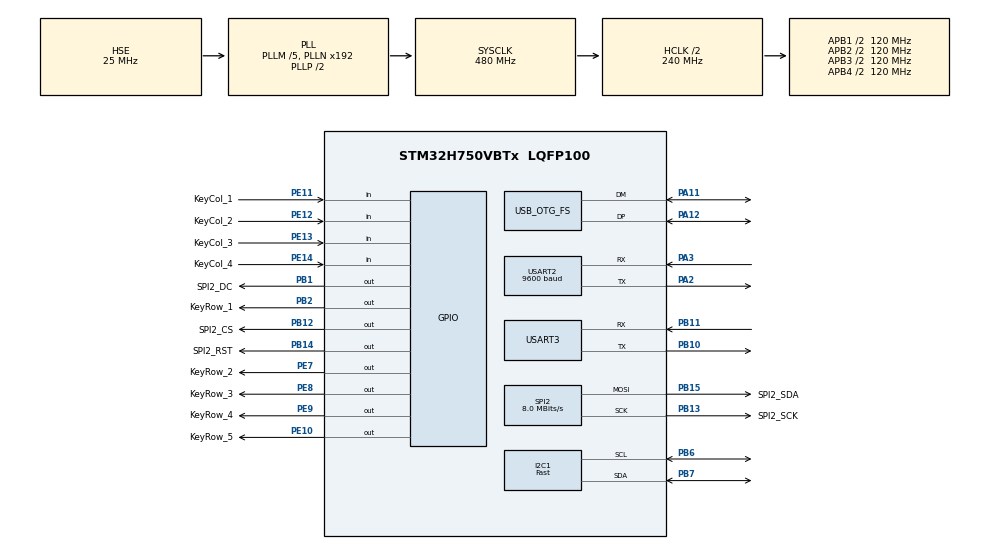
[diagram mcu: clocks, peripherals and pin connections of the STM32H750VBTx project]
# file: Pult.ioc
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CORTEX_M7.default_mode_Activation=1
Dma.Request0=USART2_RX
Dma.Request1=USART2_TX
Dma.Request2=SPI2_TX
Dma.Request3=USART3_RX
Dma.Request4=USART3_TX
Dma.SPI2_TX.2.Direction=DMA_MEMORY_TO_PERIPH
Dma.SPI2_TX.2.EventEnable=DISABLE
Dma.SPI2_TX.2.FIFOMode=DMA_FIFOMODE_DISABLE
Dma.SPI2_TX.2.Instance=DMA1_Stream5
Dma.SPI2_TX.2.MemDataAlignment=DMA_MDATAALIGN_BYTE
Dma.SPI2_TX.2.MemInc=DMA_MINC_ENABLE
Dma.SPI2_TX.2.Mode=DMA_NORMAL
Dma.SPI2_TX.2.PeriphDataAlignment=DMA_PDATAALIGN_BYTE
Dma.SPI2_TX.2.PeriphInc=DMA_PINC_DISABLE
Dma.SPI2_TX.2.Polarity=HAL_DMAMUX_REQ_GEN_RISING
Dma.SPI2_TX.2.Priority=DMA_PRIORITY_HIGH
Dma.SPI2_TX.2.RequestNumber=1
Dma.SPI2_TX.2.SignalID=NONE
Dma.SPI2_TX.2.SyncEnable=DISABLE
Dma.SPI2_TX.2.SyncPolarity=HAL_DMAMUX_SYNC_NO_EVENT
Dma.SPI2_TX.2.SyncRequestNumber=1
Dma.SPI2_TX.2.SyncSignalID=NONE
Dma.USART2_RX.0.Direction=DMA_PERIPH_TO_MEMORY
Dma.USART2_RX.0.EventEnable=DISABLE
Dma.USART2_RX.0.FIFOMode=DMA_FIFOMODE_DISABLE
Dma.USART2_RX.0.Instance=DMA1_Stream1
Dma.USART2_RX.0.MemDataAlignment=DMA_MDATAALIGN_BYTE
Dma.USART2_RX.0.MemInc=DMA_MINC_ENABLE
Dma.USART2_RX.0.Mode=DMA_NORMAL
Dma.USART2_RX.0.PeriphDataAlignment=DMA_PDATAALIGN_BYTE
Dma.USART2_RX.0.PeriphInc=DMA_PINC_DISABLE
Dma.USART2_RX.0.Polarity=HAL_DMAMUX_REQ_GEN_RISING
Dma.USART2_RX.0.Priority=DMA_PRIORITY_HIGH
Dma.USART2_RX.0.RequestNumber=1
Dma.USART2_RX.0.SignalID=NONE
Dma.USART2_RX.0.SyncEnable=DISABLE
Dma.USART2_RX.0.SyncPolarity=HAL_DMAMUX_SYNC_NO_EVENT
Dma.USART2_RX.0.SyncRequestNumber=1
Dma.USART2_RX.0.SyncSignalID=NONE
Dma.USART2_TX.1.Direction=DMA_MEMORY_TO_PERIPH
Dma.USART2_TX.1.EventEnable=DISABLE
Dma.USART2_TX.1.FIFOMode=DMA_FIFOMODE_DISABLE
Dma.USART2_TX.1.Instance=DMA1_Stream2
Dma.USART2_TX.1.MemDataAlignment=DMA_MDATAALIGN_BYTE
Dma.USART2_TX.1.MemInc=DMA_MINC_ENABLE
Dma.USART2_TX.1.Mode=DMA_NORMAL
Dma.USART2_TX.1.PeriphDataAlignment=DMA_PDATAALIGN_BYTE
Dma.USART2_TX.1.PeriphInc=DMA_PINC_DISABLE
Dma.USART2_TX.1.Polarity=HAL_DMAMUX_REQ_GEN_RISING
Dma.USART2_TX.1.Priority=DMA_PRIORITY_HIGH
Dma.USART2_TX.1.RequestNumber=1
Dma.USART2_TX.1.SignalID=NONE
Dma.USART2_TX.1.SyncEnable=DISABLE
Dma.USART2_TX.1.SyncPolarity=HAL_DMAMUX_SYNC_NO_EVENT
Dma.USART2_TX.1.SyncRequestNumber=1
Dma.USART2_TX.1.SyncSignalID=NONE
Dma.USART3_RX.3.Direction=DMA_PERIPH_TO_MEMORY
Dma.USART3_RX.3.EventEnable=DISABLE
Dma.USART3_RX.3.FIFOMode=DMA_FIFOMODE_DISABLE
Dma.USART3_RX.3.Instance=DMA1_Stream0
Dma.USART3_RX.3.MemDataAlignment=DMA_MDATAALIGN_BYTE
Dma.USART3_RX.3.MemInc=DMA_MINC_ENABLE
Dma.USART3_RX.3.Mode=DMA_NORMAL
Dma.USART3_RX.3.PeriphDataAlignment=DMA_PDATAALIGN_BYTE
Dma.USART3_RX.3.PeriphInc=DMA_PINC_DISABLE
Dma.USART3_RX.3.Polarity=HAL_DMAMUX_REQ_GEN_RISING
Dma.USART3_RX.3.Priority=DMA_PRIORITY_HIGH
Dma.USART3_RX.3.RequestNumber=1
Dma.USART3_RX.3.SignalID=NONE
Dma.USART3_RX.3.SyncEnable=DISABLE
Dma.USART3_RX.3.SyncPolarity=HAL_DMAMUX_SYNC_NO_EVENT
Dma.USART3_RX.3.SyncRequestNumber=1
Dma.USART3_RX.3.SyncSignalID=NONE
Dma.USART3_TX.4.Direction=DMA_MEMORY_TO_PERIPH
Dma.USART3_TX.4.EventEnable=DISABLE
Dma.USART3_TX.4.FIFOMode=DMA_FIFOMODE_DISABLE
Dma.USART3_TX.4.Instance=DMA1_Stream3
Dma.USART3_TX.4.MemDataAlignment=DMA_MDATAALIGN_BYTE
Dma.USART3_TX.4.MemInc=DMA_MINC_ENABLE
Dma.USART3_TX.4.Mode=DMA_NORMAL
Dma.USART3_TX.4.PeriphDataAlignment=DMA_PDATAALIGN_BYTE
Dma.USART3_TX.4.PeriphInc=DMA_PINC_DISABLE
Dma.USART3_TX.4.Polarity=HAL_DMAMUX_REQ_GEN_RISING
Dma.USART3_TX.4.Priority=DMA_PRIORITY_HIGH
Dma.USART3_TX.4.RequestNumber=1
Dma.USART3_TX.4.SignalID=NONE
Dma.USART3_TX.4.SyncEnable=DISABLE
Dma.USART3_TX.4.SyncPolarity=HAL_DMAMUX_SYNC_NO_EVENT
Dma.USART3_TX.4.SyncRequestNumber=1
Dma.USART3_TX.4.SyncSignalID=NONE
I2C1.I2C_Speed_Mode=I2C_Fast
I2C1.Timing=0x00B03FDB
Mcu.Family=STM32H7
Mcu.Name=STM32H750VBTx
Mcu.Package=LQFP100
NVIC.DMA1_Stream0_IRQn=true\:0\:0\:false\:false\:true\:false\:true\:true
NVIC.DMA1_Stream1_IRQn=true\:2\:0\:true\:false\:true\:false\:true\:true
NVIC.DMA1_Stream2_IRQn=true\:2\:0\:true\:false\:true\:false\:true\:true
NVIC.DMA1_Stream3_IRQn=true\:0\:0\:false\:false\:true\:false\:true\:true
NVIC.DMA1_Stream5_IRQn=true\:2\:0\:true\:false\:true\:false\:true\:true
NVIC.I2C1_ER_IRQn=true\:12\:0\:true\:false\:true\:true\:true\:true
NVIC.I2C1_EV_IRQn=true\:12\:0\:true\:false\:true\:true\:true\:true
NVIC.OTG_FS_EP1_IN_IRQn=true\:5\:0\:true\:false\:true\:true\:true\:true
NVIC.OTG_FS_EP1_OUT_IRQn=true\:5\:0\:true\:false\:true\:true\:true\:true
NVIC.OTG_FS_IRQn=true\:5\:0\:true\:false\:true\:false\:true\:true
NVIC.PriorityGroup=NVIC_PRIORITYGROUP_4
NVIC.SPI2_IRQn=true\:2\:0\:true\:false\:true\:true\:true\:true
NVIC.TIM2_IRQn=true\:10\:0\:true\:false\:true\:true\:true\:true
NVIC.TIM3_IRQn=true\:1\:0\:true\:false\:true\:true\:true\:true
NVIC.USART2_IRQn=true\:2\:0\:true\:false\:true\:true\:true\:true
NVIC.USART3_IRQn=true\:2\:0\:true\:false\:true\:true\:true\:true
PA11.GPIO_Speed=GPIO_SPEED_FREQ_HIGH
PA11.Mode=Device_Only
PA11.Signal=USB_OTG_FS_DM
PA12.GPIO_Speed=GPIO_SPEED_FREQ_HIGH
PA12.Mode=Device_Only
PA12.Signal=USB_OTG_FS_DP
PA13\ (JTMS/SWDIO).Mode=Serial_Wire
PA13\ (JTMS/SWDIO).Signal=DEBUG_JTMS-SWDIO
PA14\ (JTCK/SWCLK).Mode=Serial_Wire
PA14\ (JTCK/SWCLK).Signal=DEBUG_JTCK-SWCLK
PA2.GPIO_Speed=GPIO_SPEED_FREQ_HIGH
PA2.Mode=Asynchronous
PA2.Signal=USART2_TX
PA3.GPIO_Speed=GPIO_SPEED_FREQ_HIGH
PA3.Mode=Asynchronous
PA3.Signal=USART2_RX
PB1.GPIO_Label=SPI2_DC
PB1.GPIO_Speed=GPIO_SPEED_FREQ_HIGH
PB1.Signal=GPIO_Output
PB10.GPIO_Speed=GPIO_SPEED_FREQ_HIGH
PB10.Mode=Asynchronous
PB10.Signal=USART3_TX
PB11.GPIO_Speed=GPIO_SPEED_FREQ_HIGH
PB11.Mode=Asynchronous
PB11.Signal=USART3_RX
PB12.GPIO_Label=SPI2_CS
PB12.GPIO_Speed=GPIO_SPEED_FREQ_HIGH
PB12.Signal=GPIO_Output
PB13.GPIO_Label=SPI2_SCK
PB13.GPIO_Speed=GPIO_SPEED_FREQ_HIGH
PB13.Mode=TX_Only_Simplex_Unidirect_Master
PB13.Signal=SPI2_SCK
PB14.GPIO_Label=SPI2_RST
PB14.GPIO_Speed=GPIO_SPEED_FREQ_HIGH
PB14.Signal=GPIO_Output
PB15.GPIO_Label=SPI2_SDA
PB15.GPIO_Speed=GPIO_SPEED_FREQ_HIGH
PB15.Mode=TX_Only_Simplex_Unidirect_Master
PB15.Signal=SPI2_MOSI
PB2.GPIO_Label=KeyRow_1
PB2.GPIO_Speed=GPIO_SPEED_FREQ_HIGH
PB2.PinState=GPIO_PIN_SET
PB2.Signal=GPIO_Output
PB6.GPIO_Speed=GPIO_SPEED_FREQ_HIGH
PB6.Mode=I2C
PB6.Signal=I2C1_SCL
PB7.GPIO_Speed=GPIO_SPEED_FREQ_HIGH
PB7.Mode=I2C
PB7.Signal=I2C1_SDA
PC14-OSC32_IN\ (OSC32_IN).Mode=LSE-External-Oscillator
PC14-OSC32_IN\ (OSC32_IN).Signal=RCC_OSC32_IN
PC15-OSC32_OUT\ (OSC32_OUT).Mode=LSE-External-Oscillator
PC15-OSC32_OUT\ (OSC32_OUT).Signal=RCC_OSC32_OUT
PE10.GPIO_Label=KeyRow_5
PE10.GPIO_Speed=GPIO_SPEED_FREQ_HIGH
PE10.PinState=GPIO_PIN_SET
PE10.Signal=GPIO_Output
PE11.GPIO_Label=KeyCol_1
PE11.GPIO_PuPd=GPIO_PULLUP
PE11.Signal=GPIO_Input
PE12.GPIO_Label=KeyCol_2
PE12.GPIO_PuPd=GPIO_PULLUP
PE12.Signal=GPIO_Input
PE13.GPIO_Label=KeyCol_3
PE13.GPIO_PuPd=GPIO_PULLUP
PE13.Signal=GPIO_Input
PE14.GPIO_Label=KeyCol_4
PE14.GPIO_PuPd=GPIO_PULLUP
PE14.Signal=GPIO_Input
PE7.GPIO_Label=KeyRow_2
PE7.GPIO_Speed=GPIO_SPEED_FREQ_HIGH
PE7.PinState=GPIO_PIN_SET
PE7.Signal=GPIO_Output
PE8.GPIO_Label=KeyRow_3
PE8.GPIO_Speed=GPIO_SPEED_FREQ_HIGH
PE8.PinState=GPIO_PIN_SET
PE8.Signal=GPIO_Output
PE9.GPIO_Label=KeyRow_4
PE9.GPIO_Speed=GPIO_SPEED_FREQ_HIGH
PE9.PinState=GPIO_PIN_SET
PE9.Signal=GPIO_Output
PH0-OSC_IN\ (PH0).Mode=HSE-External-Oscillator
PH0-OSC_IN\ (PH0).Signal=RCC_OSC_IN
PH1-OSC_OUT\ (PH1).Mode=HSE-External-Oscillator
PH1-OSC_OUT\ (PH1).Signal=RCC_OSC_OUT
ProjectManager.HeapSize=0x1000
ProjectManager.StackSize=0x1000
ProjectManager.TargetToolchain=STM32CubeIDE
RCC.ADCFreq_Value=50390625
RCC.APB1Freq_Value=120000000
RCC.APB2Freq_Value=120000000
RCC.APB3Freq_Value=120000000
RCC.APB4Freq_Value=120000000
RCC.CortexFreq_Value=480000000
RCC.D1PPRE=RCC_APB3_DIV2
RCC.D2PPRE1=RCC_APB1_DIV2
RCC.D2PPRE2=RCC_APB2_DIV2
RCC.D3PPRE=RCC_APB4_DIV2
RCC.DIVM1=5
RCC.DIVN1=192
RCC.DIVQ1=15
RCC.HCLKFreq_Value=240000000
RCC.HPRE=RCC_HCLK_DIV2
RCC.PLL1_VCI_Range=RCC_PLL1VCIRANGE_3
RCC.PLL2FRACN=0
RCC.PLL3FRACN=0
RCC.PLLFRACN=0
RCC.PLLSourceVirtual=RCC_PLLSOURCE_HSE
RCC.SYSCLKFreq_VALUE=480000000
RCC.SYSCLKSource=RCC_SYSCLKSOURCE_PLLCLK
RCC.USBCLockSelection=RCC_USBCLKSOURCE_HSI48
RCC.USBFreq_Value=48000000
SPI2.BaudRatePrescaler=SPI_BAUDRATEPRESCALER_8
SPI2.CalculateBaudRate=8.0 MBits/s
SPI2.DataSize=SPI_DATASIZE_8BIT
SPI2.Direction=SPI_DIRECTION_2LINES_TXONLY
SPI2.Mode=SPI_MODE_MASTER
SPI2.VirtualType=VM_MASTER
TIM2.AutoReloadPreload=TIM_AUTORELOAD_PRELOAD_ENABLE
TIM2.Period=499
TIM2.Prescaler=4799
TIM3.AutoReloadPreload=TIM_AUTORELOAD_PRELOAD_ENABLE
TIM3.Period=499
TIM3.Prescaler=479
USART2.BaudRate=9600
USART2.VirtualMode-Asynchronous=VM_ASYNC
USART3.VirtualMode-Asynchronous=VM_ASYNC
USB_DEVICE.CLASS_NAME_FS=CDC
USB_DEVICE.VirtualMode-CDC_FS=Cdc
USB_DEVICE.VirtualModeFS=Cdc_FS
USB_OTG_FS.VirtualMode=Device_Only
VP_MEMORYMAP_VS_MEMORYMAP.Mode=CurAppReg
VP_TIM2_VS_ClockSourceINT.Mode=Internal
VP_TIM3_VS_ClockSourceINT.Mode=Internal
VP_USB_DEVICE_VS_USB_DEVICE_CDC_FS.Mode=CDC_FS
board=custom

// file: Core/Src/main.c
/* USER CODE BEGIN Header */
/**
  ****~~~~~~~~~~~~~~~~~~~~~~~~~~~~~~~~~~~~~~~~~~~~~~~~~~~~~~~~~~~~~~~~~~~~~~~~~~~~~~~~
  * @file           : main.c
  * @brief          : Main program body
  ****~~~~~~~~~~~~~~~~~~~~~~~~~~~~~~~~~~~~~~~~~~~~~~~~~~~~~~~~~~~~~~~~~~~~~~~~~~~~~~~~
  * @attention
  *
  * Copyright (c) 2026 STMicroelectronics.
  * All rights reserved.
  *
  * This software is licensed under terms that can be found in the LICENSE file
  * in the root directory of this software component.
  * If no LICENSE file comes with this software, it is provided AS-IS.
  *
  ****~~~~~~~~~~~~~~~~~~~~~~~~~~~~~~~~~~~~~~~~~~~~~~~~~~~~~~~~~~~~~~~~~~~~~~~~~~~~~~~~
  */
/* USER CODE END Header */
#include "main.h"
#include "dma.h"
#include "i2c.h"
#include "spi.h"
#include "tim.h"
#include "usart.h"
#include "usb_device.h"
#include "gpio.h"

/* USER CODE BEGIN Includes */
#include "ssd1309.h"
#include "ui_manager.h"
#include "dispenser.h"
#include <stdint.h>
#include <string.h>
#include <stdarg.h>
#include <stdio.h>
#include "usbd_cdc_if.h"
/* USER CODE END Includes */

/* USER CODE BEGIN PD */

/* ==== OLED callbacks switch ==== */
#ifndef SSD1309_NO_HAL_SPI_CALLBACKS
#define SSD1309_HAL_SPI_CALLBACKS_ENABLED 1
#else
#define SSD1309_HAL_SPI_CALLBACKS_ENABLED 0
#endif

/* USER CODE END PD */

/* USER CODE BEGIN PV */

/* OLED */
SSD1309_t oled;

/* USB log ring buffer */
#define USBLOG_RING_SZ        (2048u)
#define USBLOG_CHUNK_SZ       (64u)
static uint8_t usblog_ring[USBLOG_RING_SZ];
static volatile uint16_t usblog_wr = 0;
static volatile uint16_t usblog_rd = 0;

/* USER CODE END PV */

void SystemClock_Config(void);
static void MPU_Config(void);
/* USER CODE BEGIN PFP */

static void UsbLog_Push(const uint8_t *data, uint16_t len);
void UsbLog_Printf(const char *fmt, ...);
static void UsbLog_Task(void);

/* USER CODE END PFP */

/* USER CODE BEGIN 0 */

/* ====== USB CDC logger (non-blocking) ====== */
static void UsbLog_Push(const uint8_t *data, uint16_t len)
{
  for (uint16_t i = 0; i < len; i++) {
    uint16_t next = (uint16_t)((usblog_wr + 1u) % USBLOG_RING_SZ);
    if (next == usblog_rd) {
      usblog_rd = (uint16_t)((usblog_rd + 1u) % USBLOG_RING_SZ);
    }
    usblog_ring[usblog_wr] = data[i];
    usblog_wr = next;
  }
}

void UsbLog_Printf(const char *fmt, ...)
{
  char tmp[256];
  va_list ap;
  va_start(ap, fmt);
  int n = vsnprintf(tmp, sizeof(tmp), fmt, ap);
  va_end(ap);

  if (n <= 0) return;
  if ((size_t)n > sizeof(tmp)) n = (int)sizeof(tmp);
  UsbLog_Push((const uint8_t*)tmp, (uint16_t)n);
}

static void UsbLog_Task(void)
{
  if (usblog_rd == usblog_wr) return;

  uint8_t  chunk[USBLOG_CHUNK_SZ];
  uint16_t rd_snapshot = usblog_rd;
  uint16_t cnt = 0;

  while ((usblog_rd != usblog_wr) && (cnt < USBLOG_CHUNK_SZ)) {
    chunk[cnt++] = usblog_ring[usblog_rd];
    usblog_rd = (uint16_t)((usblog_rd + 1u) % USBLOG_RING_SZ);
  }

  uint8_t res = CDC_Transmit_FS(chunk, cnt);
  if (res != 0) { // USBD_OK is 0
    usblog_rd = rd_snapshot;
  }
}

/* USER CODE END 0 */

int main(void)
{

  /* MPU Configuration--------------------------------------------------------*/
  MPU_Config();

  /* MCU Configuration--------------------------------------------------------*/

  /* Reset of all peripherals, Initializes the Flash interface and the Systick. */
  HAL_Init();

  /* Configure the system clock */
  SystemClock_Config();

  /* Initialize all configured peripherals */
  MX_GPIO_Init();
  MX_DMA_Init();
  MX_I2C1_Init();
  MX_TIM2_Init();
  MX_TIM3_Init();
  MX_USART2_UART_Init();
  MX_USB_DEVICE_Init();
  MX_SPI2_Init();
  MX_USART3_UART_Init();
  /* USER CODE BEGIN 2 */

  /* OLED init */
  SSD1309_Config_t cfg = {
    .hspi = &hspi2,
    .cs_port  = SPI2_CS_GPIO_Port,  .cs_pin  = SPI2_CS_Pin,
    .dc_port  = SPI2_DC_GPIO_Port,  .dc_pin  = SPI2_DC_Pin,
    .rst_port = SPI2_RST_GPIO_Port, .rst_pin = SPI2_RST_Pin,
    .col_offset = 2u,
    .invert = 0u
  };

  SSD1309_Init(&oled, &cfg);
  SSD1309_BeginAsync(&oled);

  HAL_Delay(1000); // More delay for USB
  UsbLog_Printf("=== System Started ===\r\n");

  UI_Init();

  /* USER CODE END 2 */

  /* Infinite loop */
  /* USER CODE BEGIN WHILE */
  while (1)
  {
    /* Dispenser polling and UART handling - MUST BE CALLED EVERY LOOP */
    Dispenser_Update();

    /* OLED driver task */
    SSD1309_Task(&oled);

    /* USB logger task */
    UsbLog_Task();

    /* Process keyboard input - ALWAYS, regardless of display state */
    UI_ProcessInput();

    /* Update display only when ready */
    if (SSD1309_IsReady(&oled)) {
      UI_Draw();
    }

    /* USER CODE END WHILE */

  }
}

void SystemClock_Config(void)
{
  RCC_OscInitTypeDef RCC_OscInitStruct = {0};
  RCC_ClkInitTypeDef RCC_ClkInitStruct = {0};

  /** Supply configuration update enable
  */
  HAL_PWREx_ConfigSupply(PWR_LDO_SUPPLY);

  /** Configure the main internal regulator output voltage
  */
  __HAL_PWR_VOLTAGESCALING_CONFIG(PWR_REGULATOR_VOLTAGE_SCALE0);

  while(!__HAL_PWR_GET_FLAG(PWR_FLAG_VOSRDY)) {}

  /** Initializes the RCC Oscillators according to the specified parameters
  * in the RCC_OscInitTypeDef structure.
  */
  RCC_OscInitStruct.OscillatorType = RCC_OSCILLATORTYPE_HSI48|RCC_OSCILLATORTYPE_HSE;
  RCC_OscInitStruct.HSEState = RCC_HSE_ON;
  RCC_OscInitStruct.HSI48State = RCC_HSI48_ON;
  RCC_OscInitStruct.PLL.PLLState = RCC_PLL_ON;
  RCC_OscInitStruct.PLL.PLLSource = RCC_PLLSOURCE_HSE;
  RCC_OscInitStruct.PLL.PLLM = 5;
  RCC_OscInitStruct.PLL.PLLN = 192;
  RCC_OscInitStruct.PLL.PLLP = 2;
  RCC_OscInitStruct.PLL.PLLQ = 15;
  RCC_OscInitStruct.PLL.PLLR = 2;
  RCC_OscInitStruct.PLL.PLLRGE = RCC_PLL1VCIRANGE_3;
  RCC_OscInitStruct.PLL.PLLVCOSEL = RCC_PLL1VCOWIDE;
  RCC_OscInitStruct.PLL.PLLFRACN = 0;
  if (HAL_RCC_OscConfig(&RCC_OscInitStruct) != HAL_OK)
  {
    Error_Handler();
  }

  /** Initializes the CPU, AHB and APB buses clocks
  */
  RCC_ClkInitStruct.ClockType = RCC_CLOCKTYPE_HCLK|RCC_CLOCKTYPE_SYSCLK
                              |RCC_CLOCKTYPE_PCLK1|RCC_CLOCKTYPE_PCLK2
                              |RCC_CLOCKTYPE_D3PCLK1|RCC_CLOCKTYPE_D1PCLK1;
  RCC_ClkInitStruct.SYSCLKSource = RCC_SYSCLKSOURCE_PLLCLK;
  RCC_ClkInitStruct.SYSCLKDivider = RCC_SYSCLK_DIV1;
  RCC_ClkInitStruct.AHBCLKDivider = RCC_HCLK_DIV2;
  RCC_ClkInitStruct.APB3CLKDivider = RCC_APB3_DIV2;
  RCC_ClkInitStruct.APB1CLKDivider = RCC_APB1_DIV2;
  RCC_ClkInitStruct.APB2CLKDivider = RCC_APB2_DIV2;
  RCC_ClkInitStruct.APB4CLKDivider = RCC_APB4_DIV2;

  if (HAL_RCC_ClockConfig(&RCC_ClkInitStruct, FLASH_LATENCY_4) != HAL_OK)
  {
    Error_Handler();
  }
}

/* USER CODE BEGIN 4 */

#if SSD1309_HAL_SPI_CALLBACKS_ENABLED
void HAL_SPI_TxCpltCallback(SPI_HandleTypeDef *hspi)
{
  if (hspi == &hspi2) {
    SSD1309_OnSpiTxCplt(&oled, hspi);
  }
}

void HAL_SPI_ErrorCallback(SPI_HandleTypeDef *hspi)
{
  if (hspi == &hspi2) {
    SSD1309_OnSpiError(&oled, hspi);
  }
}
#endif

/* USER CODE END 4 */

 /* MPU Configuration */

void MPU_Config(void)
{
  MPU_Region_InitTypeDef MPU_InitStruct = {0};

  /* Disables the MPU */
  HAL_MPU_Disable();

  /** Initializes and configures the Region and the memory to be protected
  */
  MPU_InitStruct.Enable = MPU_REGION_ENABLE;
  MPU_InitStruct.Number = MPU_REGION_NUMBER0;
  MPU_InitStruct.BaseAddress = 0x0;
  MPU_InitStruct.Size = MPU_REGION_SIZE_4GB;
  MPU_InitStruct.SubRegionDisable = 0x87;
  MPU_InitStruct.TypeExtField = MPU_TEX_LEVEL0;
  MPU_InitStruct.AccessPermission = MPU_REGION_NO_ACCESS;
  MPU_InitStruct.DisableExec = MPU_INSTRUCTION_ACCESS_DISABLE;
  MPU_InitStruct.IsShareable = MPU_ACCESS_SHAREABLE;
  MPU_InitStruct.IsCacheable = MPU_ACCESS_NOT_CACHEABLE;
  MPU_InitStruct.IsBufferable = MPU_ACCESS_NOT_BUFFERABLE;

  HAL_MPU_ConfigRegion(&MPU_InitStruct);
  /* Enables the MPU */
  HAL_MPU_Enable(MPU_PRIVILEGED_DEFAULT);

}

void Error_Handler(void)
{
  __disable_irq();
  while (1)
  {
  }
}
